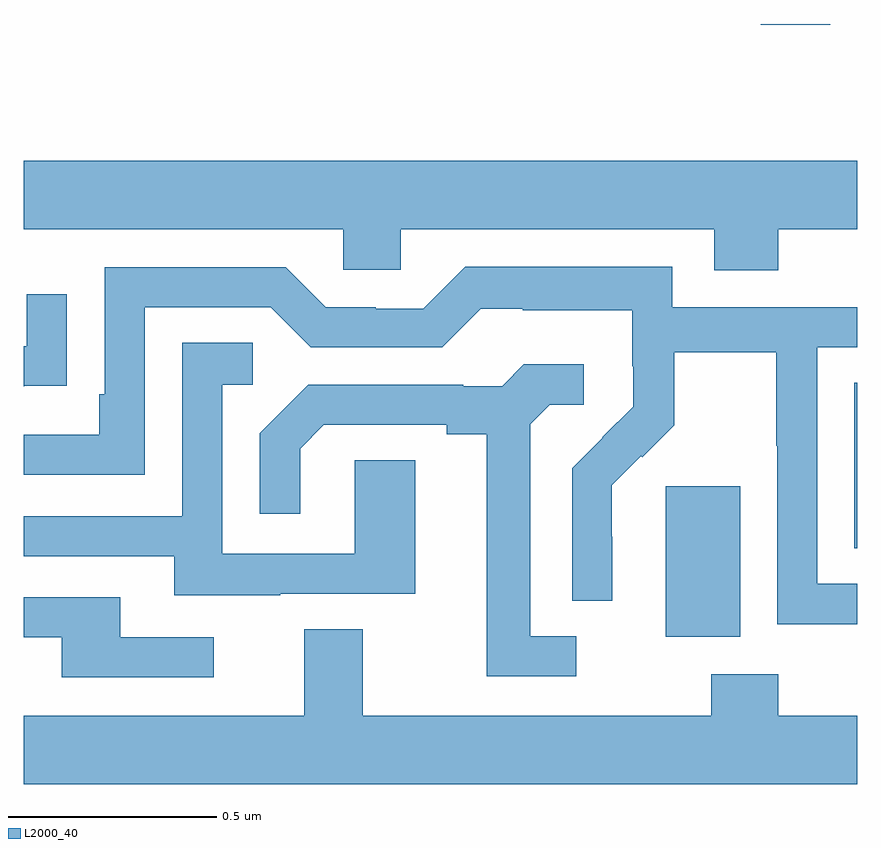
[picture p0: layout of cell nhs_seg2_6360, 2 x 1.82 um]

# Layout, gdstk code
import gdstk
lib = gdstk.Library(unit=1e-6, precision=1e-09)
def R(c, l, rs):  # rectangles x0, y0, x1, y1
    for r in rs: c.add(gdstk.rectangle(r[:2], r[2:], *l))
def P(c, l, *ps):  # polygons
    for p in ps: c.add(gdstk.Polygon(p, *l))
L2000_40 = (2000, 40)

nhs_seg2_6360 = lib.new_cell('nhs_seg2_6360')
R(nhs_seg2_6360, L2000_40, [(191.54,641.33,191.719,641.691), (191.993,641.542,192,641.939), (191.768,642.798,191.935,642.8)])
P(nhs_seg2_6360, L2000_40, [(191.81,642.308),(192,642.308),(192,642.472),(190,642.472),(190,642.308),(190.767,642.308),(190.767,642.21),(190.905,642.21),(190.905,642.308),(191.657,642.308),(191.657,642.209),(191.81,642.209)],
  [(192,641.457),(191.904,641.457),(191.904,642.024),(192,642.024),(192,642.12),(191.556,642.12),(191.556,642.217),(191.059,642.217),(190.959,642.117),(190.844,642.117),(190.844,642.12),(190.725,642.12),(190.629,642.216),(190.194,642.216),(190.194,641.911),(190.181,641.911),(190.181,641.814),(190,641.814),(190,641.718),(190.29,641.718),(190.29,642.12),(190.593,642.12),(190.689,642.024),(191.004,642.024),(191.097,642.117),(191.197,642.117),(191.197,642.113),(191.46,642.113),(191.46,641.979),(191.462,641.979),(191.462,641.882),(191.388,641.808),(191.389,641.807),(191.316,641.734),(191.316,641.416),(191.412,641.416),(191.412,641.57),(191.411,641.57),(191.411,641.693),(191.481,641.763),(191.484,641.76),(191.561,641.837),(191.561,642.012),(191.806,642.012),(191.806,641.788),(191.808,641.788),(191.808,641.359),(192,641.359)],
  [(190.001,641.932),(190.103,641.932),(190.103,642.151),(190.007,642.151),(190.007,642.027),(190,642.027),(190,641.931),(190.001,641.931)],
  [(190.615,641.433),(190.939,641.433),(190.939,641.753),(190.794,641.753),(190.794,641.529),(190.476,641.529),(190.476,641.934),(190.549,641.934),(190.549,642.035),(190.38,642.035),(190.38,641.619),(190,641.619),(190,641.523),(190.361,641.523),(190.361,641.429),(190.615,641.429)],
  [(191.326,641.331),(191.215,641.331),(191.215,641.839),(191.262,641.886),(191.344,641.886),(191.344,641.983),(191.2,641.983),(191.148,641.931),(191.054,641.931),(191.054,641.934),(190.682,641.934),(190.566,641.818),(190.566,641.625),(190.663,641.625),(190.663,641.781),(190.72,641.838),(191.015,641.838),(191.015,641.816),(191.111,641.816),(191.111,641.235),(191.326,641.235)],
  [(190.456,641.328),(190.231,641.328),(190.231,641.424),(190,641.424),(190,641.328),(190.091,641.328),(190.091,641.232),(190.456,641.232)],
  [(192,641.14),(191.81,641.14),(191.81,641.239),(191.65,641.239),(191.65,641.14),(190.813,641.14),(190.813,641.348),(190.673,641.348),(190.673,641.14),(190,641.14),(190,640.976),(192,640.976)])

lib.write_gds('nhs_seg2_6360.gds')
